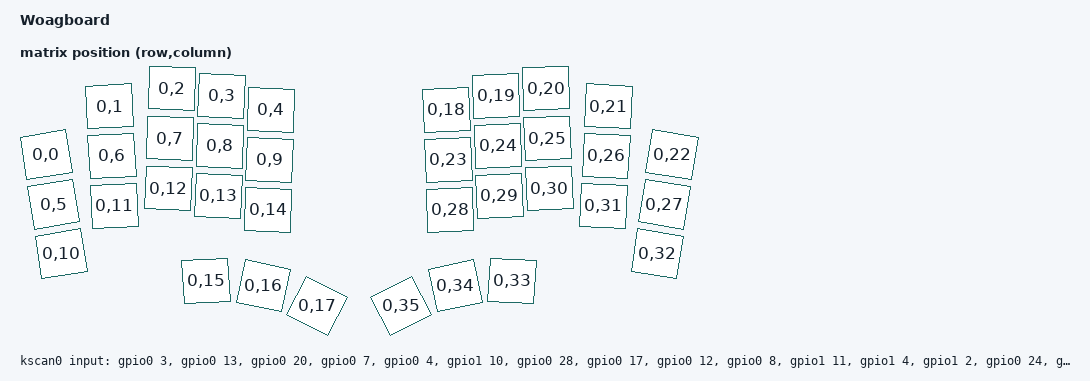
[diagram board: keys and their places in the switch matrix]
/*
*
* SPDX-License-Identifier: MIT
*
*/

/dts-v1/;
#include <nordic/nrf52840_qiaa.dtsi>
#include <dt-bindings/zmk/matrix_transform.h>
#include <physical_layouts.dtsi>

/ {
    model = "Woagboard";
    compatible = "woagboard";

    chosen {
        zmk,physical-layout = &default_layout;
        zephyr,code-partition = &code_partition;
        zephyr,sram = &sram0;
        zephyr,flash = &flash0;
        zmk,kscan = &kscan0;
		zmk,battery = &vbatt;
    };

    default_transform: keymap_transform_0 {
        compatible = "zmk,matrix-transform";
        // Direct GPIO moment
        columns = <36>;
        rows = <1>;

        //  | SW1   | SW2   | SW3   | SW4  | SW5  |   | SW19 | SW20 | SW21 | SW22 | SW23  |
        //  | SW6   | SW7   | SW8   | SW9  | SW10 |   | SW24 | SW25 | SW26 | SW27 | SW28  |
        //  | SW11  | SW12  | SW13  | SW14 | SW15 |   | SW29 | SW30 | SW31 | SW32 | SW33 |
        //                  | SW16  | SW17 | SW18 |   | SW36 | SW35 | SW34 |
        map = <
            RC(0,0)  RC(0,1)  RC(0,2)  RC(0,3)  RC(0,4)   RC(0,18) RC(0,19) RC(0,20) RC(0,21) RC(0,22)
            RC(0,5)  RC(0,6)  RC(0,7)  RC(0,8)  RC(0,9)   RC(0,23) RC(0,24) RC(0,25) RC(0,26) RC(0,27)
            RC(0,10) RC(0,11) RC(0,12) RC(0,13) RC(0,14)  RC(0,28) RC(0,29) RC(0,30) RC(0,31) RC(0,32)
                              RC(0,15) RC(0,16) RC(0,17)  RC(0,35) RC(0,34) RC(0,33)
        >;
    };

    default_layout: default_layout {
        compatible = "zmk,physical-layout";
        display-name = "Woagboard";

        transform = <&default_transform>;
        kscan = <&kscan0>;

        keys  //                     w   h    x    y     rot    rx    ry
            = <&key_physical_attrs 100  94    0  133  (-900)    50   180>
            , <&key_physical_attrs 100  94  127   36  (-300)   177    83>
            , <&key_physical_attrs 100  94  252    0     200   302    47>
            , <&key_physical_attrs 100  94  351   15     200   401    63>
            , <&key_physical_attrs 100  94  450   43     200   500    90>
            , <&key_physical_attrs 100  94  801   43  (-200)   851    90>
            , <&key_physical_attrs 100  94  900   15  (-200)   950    63>
            , <&key_physical_attrs 100  94 1000    0  (-200)  1050    47>
            , <&key_physical_attrs 100  94 1125   36     300  1175    83>
            , <&key_physical_attrs 100  94 1252  133     900  1302   180>
            , <&key_physical_attrs 100  94   15  232  (-900)    65   279>
            , <&key_physical_attrs 100  94  132  135  (-300)   182   183>
            , <&key_physical_attrs 100  94  248  100     200   298   147>
            , <&key_physical_attrs 100  94  348  115     200   398   163>
            , <&key_physical_attrs 100  94  447  143     200   497   190>
            , <&key_physical_attrs 100  94  805  143  (-200)   855   190>
            , <&key_physical_attrs 100  94  904  115  (-200)   954   163>
            , <&key_physical_attrs 100  94 1003  100  (-200)  1053   147>
            , <&key_physical_attrs 100  94 1120  135     300  1170   183>
            , <&key_physical_attrs 100  94 1237  232     900  1287   279>
            , <&key_physical_attrs 100  94   30  331  (-900)    80   378>
            , <&key_physical_attrs 100  94  137  235  (-300)   187   283>
            , <&key_physical_attrs 100  94  245  200     200   295   247>
            , <&key_physical_attrs 100  94  345  215     200   395   263>
            , <&key_physical_attrs 100  94  444  243     200   494   290>
            , <&key_physical_attrs 100  94  808  243  (-200)   858   290>
            , <&key_physical_attrs 100  94  907  215  (-200)   957   263>
            , <&key_physical_attrs 100  94 1007  200  (-200)  1057   247>
            , <&key_physical_attrs 100  94 1115  235     300  1165   283>
            , <&key_physical_attrs 100  94 1222  331     900  1272   378>
            , <&key_physical_attrs 100  94  320  385  (-300)   370   432>
            , <&key_physical_attrs 100  94  434  395    1200   484   442>
            , <&key_physical_attrs 100  94  542  435    2700   592   482>
            , <&key_physical_attrs 100  94  710  435 (-2700)   760   482>
            , <&key_physical_attrs 100  94  818  395 (-1200)   868   442>
            , <&key_physical_attrs 100  94  932  385     300   982   432>
            ;
    };

    vbatt: vbatt {
        compatible = "zmk,battery-nrf-vddh";
    };

    kscan0: kscan {
        compatible = "zmk,kscan-gpio-direct";
        wakeup-source;
        // Index 0 = SW1 = RC(0,0)
        input-gpios
            = <&gpio0 3  (GPIO_ACTIVE_LOW | GPIO_PULL_UP)>
            , <&gpio0 13 (GPIO_ACTIVE_LOW | GPIO_PULL_UP)>
            , <&gpio0 20 (GPIO_ACTIVE_LOW | GPIO_PULL_UP)>
            , <&gpio0 7  (GPIO_ACTIVE_LOW | GPIO_PULL_UP)>
            , <&gpio0 4  (GPIO_ACTIVE_LOW | GPIO_PULL_UP)>
            , <&gpio1 10 (GPIO_ACTIVE_LOW | GPIO_PULL_UP)>
            , <&gpio0 28 (GPIO_ACTIVE_LOW | GPIO_PULL_UP)>
            , <&gpio0 17 (GPIO_ACTIVE_LOW | GPIO_PULL_UP)>
            , <&gpio0 12 (GPIO_ACTIVE_LOW | GPIO_PULL_UP)>
            , <&gpio0 8  (GPIO_ACTIVE_LOW | GPIO_PULL_UP)>
            , <&gpio1 11 (GPIO_ACTIVE_LOW | GPIO_PULL_UP)>
            , <&gpio1 4  (GPIO_ACTIVE_LOW | GPIO_PULL_UP)>
            , <&gpio1 2  (GPIO_ACTIVE_LOW | GPIO_PULL_UP)>
            , <&gpio0 24 (GPIO_ACTIVE_LOW | GPIO_PULL_UP)>
            , <&gpio0 22 (GPIO_ACTIVE_LOW | GPIO_PULL_UP)>
            , <&gpio0 9  (GPIO_ACTIVE_LOW | GPIO_PULL_UP)>
            , <&gpio1 6  (GPIO_ACTIVE_LOW | GPIO_PULL_UP)>
            , <&gpio0 10 (GPIO_ACTIVE_LOW | GPIO_PULL_UP)>
            ;
    };

    leds {
        compatible = "gpio-leds";
        blue_led: led_0 {
            gpios = <&gpio0 16 GPIO_ACTIVE_HIGH>;
        };
    };
};

&gpio0 {
    status = "okay";
};

&gpio1 {
    status = "okay";
};

zephyr_udc0: &usbd {
    status = "okay";
};

&adc {
    status = "okay";
};

&flash0 {
	/*
	 * For more information, see:
	 * http://docs.zephyrproject.org/latest/devices/dts/flash_partitions.html
	 */
	partitions {
		compatible = "fixed-partitions";
		#address-cells = <1>;
		#size-cells = <1>;

		sd_partition: partition@0 {
			label = "softdevice";
			reg = <0x00000000 0x00026000>;
		};
		code_partition: partition@26000 {
			label = "code_partition";
			reg = <0x00026000 0x000c6000>;
		};

		/*
		 * The flash starting at 0x000ec000 and ending at
		 * 0x000f3fff is reserved for use by the application.
		 */

		/*
		 * Storage partition will be used by FCB/LittleFS/NVS
		 * if enabled.
		 */
		storage_partition: partition@ec000 {
			label = "storage";
			reg = <0x000ec000 0x00008000>;
		};

		boot_partition: partition@f4000 {
			label = "adafruit_boot";
			reg = <0x000f4000 0x0000c000>;
		};
	};
};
